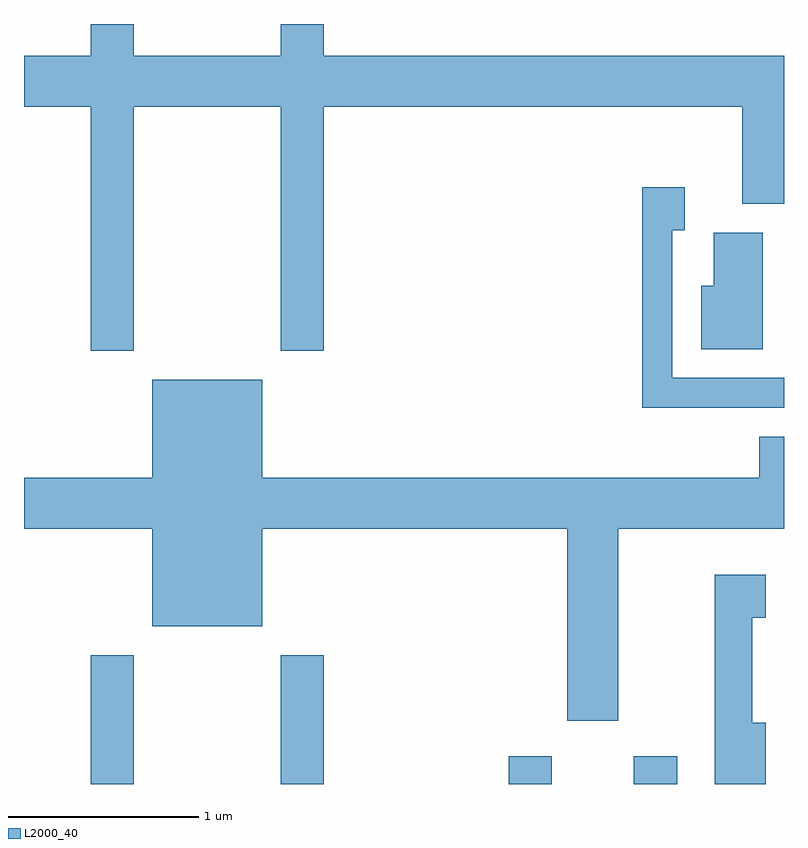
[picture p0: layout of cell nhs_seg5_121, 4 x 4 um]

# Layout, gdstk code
import gdstk
lib = gdstk.Library(unit=1e-6, precision=1e-09)
def R(c, l, rs):  # rectangles x0, y0, x1, y1
    for r in rs: c.add(gdstk.rectangle(r[:2], r[2:], *l))
def P(c, l, *ps):  # polygons
    for p in ps: c.add(gdstk.Polygon(p, *l))
L2000_40 = (2000, 40)

nhs_seg5_121 = lib.new_cell('nhs_seg5_121')
R(nhs_seg5_121, L2000_40, [(187.961,1502.072,188.189,1502.749), (188.961,1502.072,189.189,1502.749), (190.161,1502.072,190.389,1502.219), (190.821,1502.072,191.049,1502.219)])
P(nhs_seg5_121, L2000_40, [(188.189,1505.636),(188.961,1505.636),(188.961,1504.351),(189.189,1504.351),(189.189,1505.636),(191.391,1505.636),(191.391,1505.126),(191.611,1505.126),(191.611,1505.904),(189.189,1505.904),(189.189,1506.072),(188.961,1506.072),(188.961,1505.904),(188.189,1505.904),(188.189,1506.072),(187.961,1506.072),(187.961,1505.904),(187.611,1505.904),(187.611,1505.636),(187.961,1505.636),(187.961,1504.351),(188.189,1504.351)],
  [(191.611,1504.209),(191.024,1504.209),(191.024,1504.986),(191.089,1504.986),(191.089,1505.214),(190.866,1505.214),(190.866,1504.051),(191.611,1504.051)],
  [(191.499,1504.974),(191.241,1504.974),(191.241,1504.694),(191.176,1504.694),(191.176,1504.361),(191.499,1504.361)],
  [(190.739,1503.416),(191.611,1503.416),(191.611,1503.899),(191.481,1503.899),(191.481,1503.684),(188.864,1503.684),(188.864,1504.199),(188.286,1504.199),(188.286,1503.684),(187.611,1503.684),(187.611,1503.416),(188.286,1503.416),(188.286,1502.901),(188.864,1502.901),(188.864,1503.416),(190.471,1503.416),(190.471,1502.406),(190.739,1502.406)],
  [(191.514,1502.394),(191.444,1502.394),(191.444,1502.946),(191.514,1502.946),(191.514,1503.174),(191.246,1503.174),(191.246,1502.072),(191.514,1502.072)])

lib.write_gds('nhs_seg5_121.gds')
